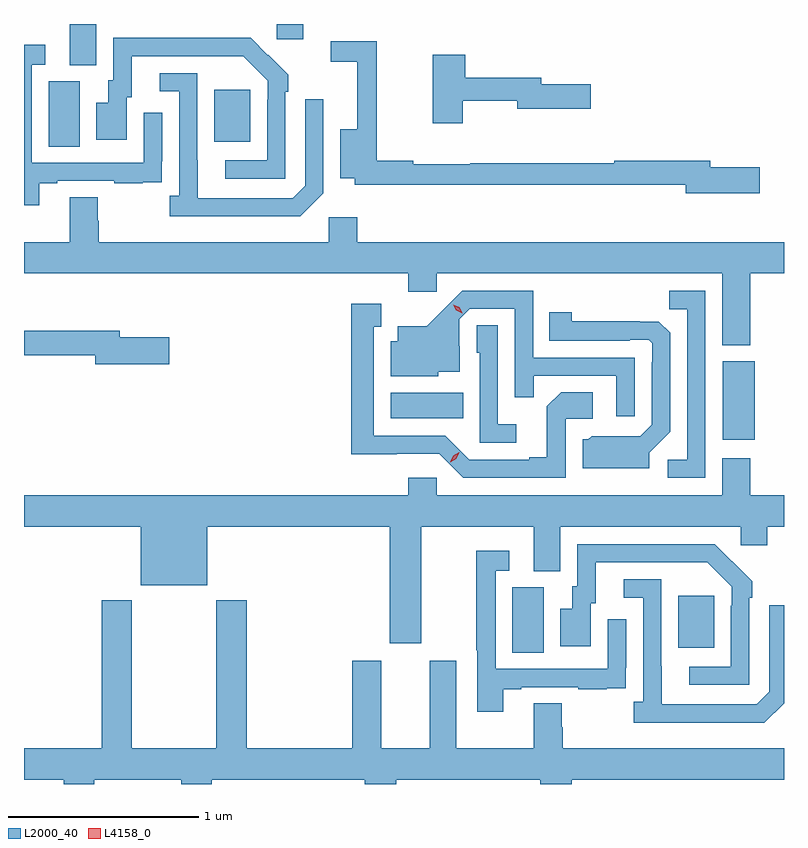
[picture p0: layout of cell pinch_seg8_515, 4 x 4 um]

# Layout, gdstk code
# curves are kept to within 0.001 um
import gdstk
lib = gdstk.Library(unit=1e-6, precision=1e-09)
def R(c, l, rs):  # rectangles x0, y0, x1, y1
    for r in rs: c.add(gdstk.rectangle(r[:2], r[2:], *l))
def P(c, l, *ps):  # polygons
    for p in ps: c.add(gdstk.Polygon(p, *l))
L2000_40 = (2000, 40)
L4158_0 = (4158, 0)

pinch_seg8_515 = lib.new_cell('pinch_seg8_515')
R(pinch_seg8_515, L2000_40, [(127.358,1101.184,127.522,1101.528), (128.231,1101.209,128.419,1101.484), (128.465,1102.305,128.632,1102.717), (126.716,1102.418,127.1,1102.552), (124.916,1103.848,125.08,1104.192), (125.789,1103.873,125.977,1104.148), (125.027,1104.277,125.167,1104.493), (126.117,1104.414,126.256,1104.493)])
P(pinch_seg8_515, L2000_40, [(126.162,1104.137),(126.177,1104.137),(126.177,1104.225),(125.98,1104.42),(125.256,1104.42),(125.256,1104.198),(125.231,1104.198),(125.231,1104.079),(125.168,1104.079),(125.168,1103.883),(125.329,1103.883),(125.329,1104.108),(125.353,1104.108),(125.353,1104.324),(125.941,1104.324),(126.069,1104.195),(126.069,1104.095),(126.066,1104.095),(126.066,1103.775),(125.847,1103.775),(125.847,1103.679),(126.162,1103.679)],
  [(128.659,1103.738),(128.398,1103.738),(128.398,1103.774),(127.894,1103.774),(127.894,1103.759),(127.136,1103.759),(127.136,1103.756),(126.836,1103.756),(126.836,1103.774),(126.644,1103.774),(126.644,1104.402),(126.402,1104.402),(126.402,1104.294),(126.542,1104.294),(126.542,1103.938),(126.452,1103.938),(126.452,1103.681),(126.528,1103.681),(126.528,1103.646),(128.27,1103.646),(128.27,1103.603),(128.659,1103.603)],
  [(124.867,1103.655),(124.963,1103.655),(124.963,1103.667),(125.263,1103.667),(125.263,1103.655),(125.411,1103.655),(125.411,1103.661),(125.513,1103.661),(125.513,1103.77),(125.514,1103.77),(125.514,1104.025),(125.418,1104.025),(125.418,1103.763),(124.827,1103.763),(124.827,1104.279),(124.9,1104.279),(124.9,1104.385),(124.787,1104.385),(124.787,1103.538),(124.867,1103.538)],
  [(127.096,1104.09),(127.382,1104.09),(127.382,1104.047),(127.771,1104.047),(127.771,1104.177),(127.51,1104.177),(127.51,1104.211),(127.109,1104.211),(127.109,1104.331),(126.938,1104.331),(126.938,1103.97),(127.096,1103.97)],
  [(126.363,1103.601),(126.363,1104.097),(126.267,1104.097),(126.267,1103.643),(126.201,1103.577),(125.701,1103.577),(125.7,1104.234),(125.502,1104.234),(125.502,1104.138),(125.604,1104.138),(125.604,1103.59),(125.553,1103.59),(125.553,1103.48),(126.242,1103.48)],
  [(128.61,1103.18),(128.787,1103.18),(128.787,1103.344),(126.542,1103.344),(126.542,1103.476),(126.39,1103.476),(126.39,1103.344),(125.18,1103.344),(125.18,1103.457),(125.175,1103.457),(125.175,1103.582),(125.027,1103.582),(125.027,1103.344),(124.787,1103.344),(124.787,1103.18),(126.809,1103.18),(126.809,1103.085),(126.96,1103.085),(126.96,1103.18),(128.462,1103.18),(128.462,1102.802),(128.61,1102.802)],
  [(128.373,1103.088),(128.182,1103.088),(128.182,1102.993),(128.277,1102.993),(128.277,1102.2),(128.175,1102.2),(128.175,1102.104),(128.373,1102.104)],
  [(128.001,1102.737),(127.467,1102.737),(127.467,1103.088),(127.094,1103.088),(126.907,1102.903),(126.755,1102.903),(126.755,1102.822),(126.716,1102.822),(126.716,1102.64),(126.966,1102.64),(126.966,1102.664),(127.081,1102.664),(127.081,1102.796),(127.077,1102.796),(127.077,1102.938),(127.134,1102.995),(127.371,1102.995),(127.371,1102.528),(127.469,1102.528),(127.469,1102.641),(127.905,1102.641),(127.905,1102.428),(128.001,1102.428)],
  [(127.638,1102.416),(127.78,1102.416),(127.78,1102.556),(127.615,1102.556),(127.539,1102.48),(127.539,1102.213),(127.445,1102.213),(127.445,1102.2),(127.131,1102.2),(127.005,1102.326),(126.628,1102.326),(126.628,1102.899),(126.667,1102.899),(126.667,1103.02),(126.51,1103.02),(126.51,1102.229),(126.972,1102.23),(127.098,1102.104),(127.638,1102.104)],
  [(128.077,1102.236),(128.187,1102.346),(128.187,1102.868),(128.128,1102.927),(127.671,1102.928),(127.671,1102.975),(127.552,1102.975),(127.552,1102.827),(127.976,1102.827),(127.976,1102.83),(128.076,1102.83),(128.094,1102.812),(128.094,1102.712),(128.091,1102.712),(128.091,1102.383),(128.031,1102.323),(127.774,1102.324),(127.758,1102.308),(127.727,1102.308),(127.727,1102.154),(128.077,1102.154)],
  [(127.378,1102.387),(127.281,1102.387),(127.281,1102.907),(127.17,1102.907),(127.17,1102.764),(127.185,1102.764),(127.185,1102.29),(127.378,1102.29)],
  [(125.551,1102.845),(125.29,1102.845),(125.29,1102.879),(124.787,1102.879),(124.787,1102.75),(125.162,1102.75),(125.162,1102.703),(125.551,1102.703)],
  [(126.877,1101.848),(127.469,1101.848),(127.469,1101.613),(127.609,1101.613),(127.609,1101.848),(128.559,1101.848),(128.559,1101.75),(128.698,1101.75),(128.698,1101.848),(128.787,1101.848),(128.787,1102.012),(128.61,1102.012),(128.61,1102.207),(128.462,1102.207),(128.462,1102.012),(126.96,1102.012),(126.96,1102.105),(126.809,1102.105),(126.809,1102.012),(124.787,1102.012),(124.787,1101.848),(125.402,1101.848),(125.402,1101.539),(125.752,1101.539),(125.752,1101.848),(126.713,1101.848),(126.713,1101.234),(126.877,1101.234)],
  [(128.604,1101.473),(128.619,1101.473),(128.619,1101.561),(128.422,1101.756),(127.698,1101.756),(127.698,1101.534),(127.673,1101.534),(127.673,1101.415),(127.61,1101.415),(127.61,1101.219),(127.771,1101.219),(127.771,1101.444),(127.795,1101.444),(127.795,1101.66),(128.383,1101.66),(128.511,1101.531),(128.511,1101.431),(128.508,1101.431),(128.508,1101.111),(128.289,1101.111),(128.289,1101.015),(128.604,1101.015)],
  [(127.309,1100.991),(127.405,1100.991),(127.405,1101.003),(127.705,1101.003),(127.705,1100.991),(127.853,1100.991),(127.853,1100.997),(127.955,1100.997),(127.955,1101.106),(127.956,1101.106),(127.956,1101.361),(127.86,1101.361),(127.86,1101.099),(127.269,1101.099),(127.269,1101.615),(127.342,1101.615),(127.342,1101.721),(127.168,1101.721),(127.168,1101.196),(127.173,1101.196),(127.173,1100.874),(127.309,1100.874)],
  [(128.787,1100.919),(128.787,1101.433),(128.709,1101.433),(128.709,1100.979),(128.643,1100.913),(128.143,1100.913),(128.142,1101.57),(127.944,1101.57),(127.944,1101.474),(128.046,1101.474),(128.046,1100.926),(127.995,1100.926),(127.995,1100.816),(128.684,1100.816)],
  [(125.157,1100.516),(125.614,1100.516),(125.614,1100.493),(125.774,1100.493),(125.774,1100.516),(126.581,1100.516),(126.581,1100.493),(126.746,1100.493),(126.746,1100.516),(127.505,1100.516),(127.505,1100.493),(127.67,1100.493),(127.67,1100.516),(128.787,1100.516),(128.787,1100.68),(127.622,1100.68),(127.622,1100.793),(127.617,1100.793),(127.617,1100.918),(127.469,1100.918),(127.469,1100.68),(127.063,1100.68),(127.063,1101.142),(126.923,1101.142),(126.923,1100.68),(126.667,1100.68),(126.667,1101.142),(126.515,1101.142),(126.515,1100.68),(125.96,1100.68),(125.96,1101.46),(125.8,1101.46),(125.8,1100.68),(125.355,1100.68),(125.355,1101.46),(125.195,1101.46),(125.195,1100.68),(124.787,1100.68),(124.787,1100.516),(124.997,1100.516),(124.997,1100.493),(125.157,1100.493)])
P(pinch_seg8_515, L4158_0, [(127.094,1102.971),(127.063,1102.986),(127.046,1103.016),(127.046,1103.016),(127.046,1103.016),(127.077,1103.001),(127.094,1102.972),(127.094,1102.971)],
  [(127.03,1102.187),(127.03,1102.187),(127.047,1102.22),(127.079,1102.239),(127.079,1102.239),(127.079,1102.239),(127.061,1102.206),(127.03,1102.187)])

lib.write_gds('pinch_seg8_515.gds')
